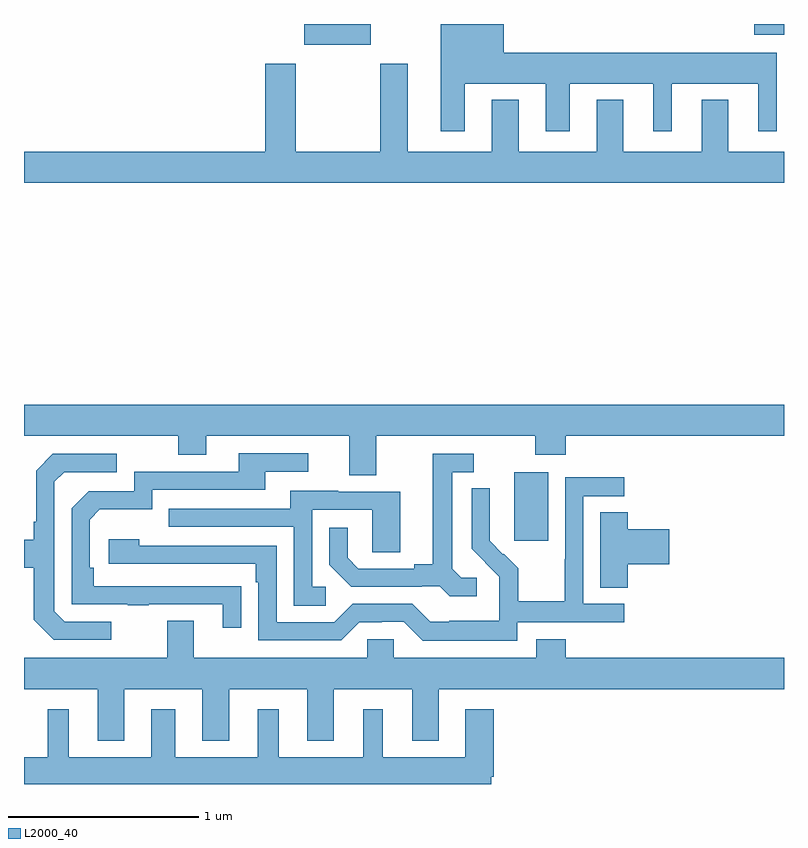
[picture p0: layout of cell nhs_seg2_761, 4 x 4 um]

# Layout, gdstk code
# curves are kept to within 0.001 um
import gdstk
lib = gdstk.Library(unit=1e-6, precision=1e-09)
def R(c, l, rs):  # rectangles x0, y0, x1, y1
    for r in rs: c.add(gdstk.rectangle(r[:2], r[2:], *l))
def P(c, l, *ps):  # polygons
    for p in ps: c.add(gdstk.Polygon(p, *l))
L2000_40 = (2000, 40)

nhs_seg2_761 = lib.new_cell('nhs_seg2_761')
R(nhs_seg2_761, L2000_40, [(151.58,651.081,151.759,651.442), (150.476,653.69,150.826,653.8), (152.844,653.744,153,653.8)])
P(nhs_seg2_761, L2000_40, [(151.321,653.486),(151.745,653.486),(151.745,653.235),(151.873,653.235),(151.873,653.486),(152.312,653.486),(152.312,653.235),(152.41,653.235),(152.41,653.486),(152.864,653.486),(152.864,653.235),(152.962,653.235),(152.962,653.65),(151.525,653.65),(151.525,653.8),(151.193,653.8),(151.193,653.235),(151.321,653.235)],
  [(153,653.128),(152.707,653.128),(152.707,653.401),(152.567,653.401),(152.567,653.128),(152.155,653.128),(152.155,653.401),(152.015,653.401),(152.015,653.128),(151.603,653.128),(151.603,653.401),(151.463,653.401),(151.463,653.128),(151.021,653.128),(151.021,653.59),(150.874,653.59),(150.874,653.128),(150.429,653.128),(150.429,653.59),(150.269,653.59),(150.269,653.128),(149,653.128),(149,652.964),(153,652.964)],
  [(150.853,651.632),(151.69,651.632),(151.69,651.533),(151.85,651.533),(151.85,651.632),(153,651.632),(153,651.796),(149,651.796),(149,651.632),(149.812,651.632),(149.812,651.533),(149.959,651.533),(149.959,651.632),(150.713,651.632),(150.713,651.424),(150.853,651.424)],
  [(150.143,650.84),(149.366,650.841),(149.366,650.938),(149.346,650.938),(149.346,651.192),(149.399,651.245),(149.676,651.245),(149.676,651.348),(150.271,651.348),(150.271,651.444),(150.496,651.444),(150.496,651.54),(150.131,651.54),(150.131,651.444),(149.58,651.444),(149.58,651.342),(149.34,651.342),(149.25,651.252),(149.25,650.745),(149.545,650.745),(149.545,650.74),(149.657,650.74),(149.657,650.745),(150.047,650.745),(150.047,650.622),(150.143,650.622)],
  [(149.458,650.655),(149.214,650.655),(149.16,650.709),(149.16,651.39),(149.211,651.441),(149.488,651.441),(149.488,651.537),(149.151,651.537),(149.064,651.45),(149.064,651.181),(149.052,651.181),(149.052,651.085),(149,651.085),(149,650.938),(149.052,650.938),(149.052,650.665),(149.157,650.559),(149.458,650.559)],
  [(151.384,650.886),(151.302,650.886),(151.255,650.933),(151.255,651.441),(151.366,651.441),(151.366,651.537),(151.151,651.537),(151.151,650.957),(151.055,650.957),(151.055,650.934),(150.76,650.934),(150.703,650.991),(150.703,651.148),(150.606,651.148),(150.606,650.954),(150.722,650.838),(151.094,650.838),(151.094,650.841),(151.188,650.841),(151.24,650.789),(151.384,650.789)],
  [(151.596,650.652),(152.158,650.652),(152.158,650.748),(151.944,650.748),(151.944,651.315),(152.158,651.315),(152.158,651.414),(151.848,651.414),(151.848,650.984),(151.846,650.984),(151.846,650.761),(151.601,650.761),(151.601,650.935),(151.524,651.012),(151.521,651.009),(151.451,651.08),(151.452,651.356),(151.356,651.356),(151.356,651.038),(151.502,650.89),(151.502,650.793),(151.5,650.793),(151.5,650.659),(151.237,650.659),(151.237,650.655),(151.137,650.655),(151.044,650.748),(150.729,650.748),(150.633,650.652),(150.33,650.652),(150.33,651.054),(149.606,651.054),(149.606,651.088),(149.445,651.088),(149.445,650.958),(150.221,650.958),(150.221,650.861),(150.234,650.861),(150.234,650.556),(150.669,650.556),(150.765,650.652),(150.884,650.652),(150.884,650.655),(150.999,650.655),(151.099,650.555),(151.596,650.555)],
  [(150.589,650.838),(150.516,650.838),(150.516,651.243),(150.834,651.243),(150.834,651.019),(150.979,651.019),(150.979,651.339),(150.655,651.339),(150.655,651.343),(150.401,651.343),(150.401,651.249),(149.761,651.249),(149.761,651.153),(150.42,651.153),(150.42,650.737),(150.589,650.737)],
  [(152.177,650.957),(152.395,650.957),(152.395,651.14),(152.177,651.14),(152.177,651.23),(152.033,651.23),(152.033,650.833),(152.177,650.833)],
  [(149.527,650.3),(149.939,650.3),(149.939,650.027),(150.079,650.027),(150.079,650.3),(150.491,650.3),(150.491,650.027),(150.631,650.027),(150.631,650.3),(151.043,650.3),(151.043,650.027),(151.183,650.027),(151.183,650.3),(153,650.3),(153,650.464),(151.85,650.464),(151.85,650.563),(151.697,650.563),(151.697,650.464),(150.945,650.464),(150.945,650.562),(150.807,650.562),(150.807,650.464),(149.893,650.464),(149.893,650.659),(149.753,650.659),(149.753,650.464),(149,650.464),(149,650.3),(149.387,650.3),(149.387,650.027),(149.527,650.027)],
  [(151.459,649.838),(151.472,649.838),(151.472,650.194),(151.322,650.194),(151.322,649.942),(150.889,649.942),(150.889,650.194),(150.785,650.194),(150.785,649.942),(150.34,649.942),(150.34,650.194),(150.23,650.194),(150.23,649.942),(149.797,649.942),(149.797,650.194),(149.669,650.194),(149.669,649.942),(149.236,649.942),(149.236,650.194),(149.126,650.194),(149.126,649.942),(149,649.942),(149,649.8),(151.459,649.8)])

lib.write_gds('nhs_seg2_761.gds')
